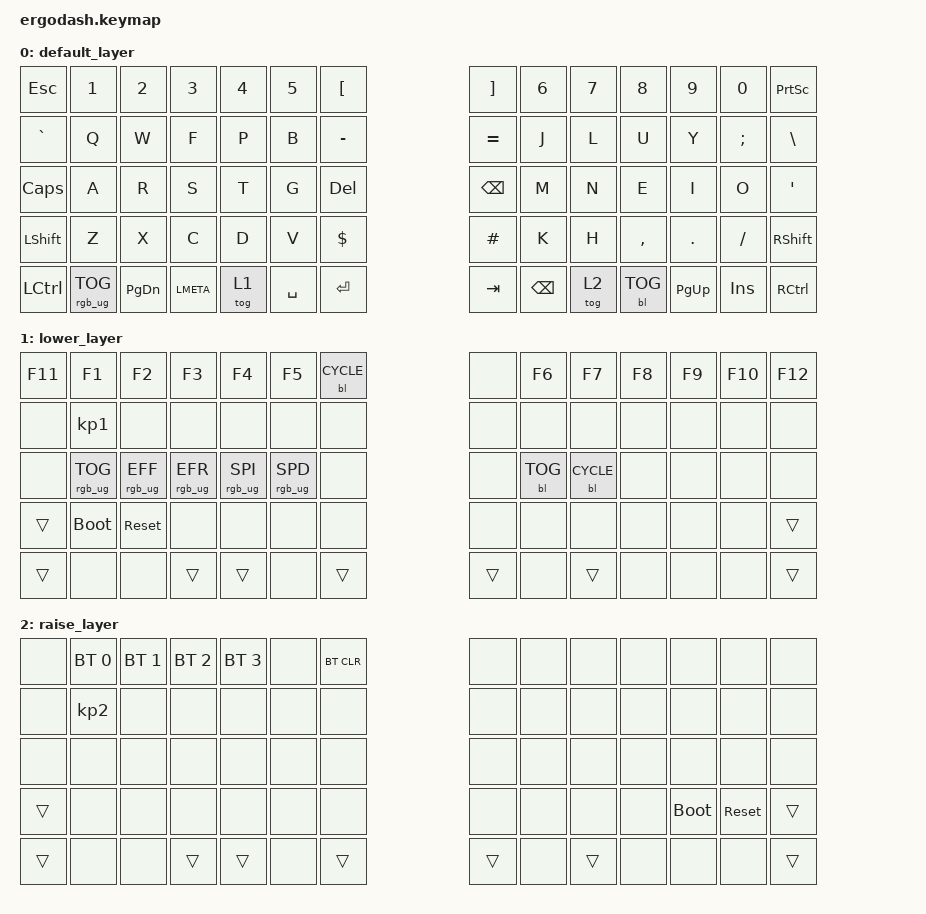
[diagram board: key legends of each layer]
/*
 * Copyright (c) 2020 The ZMK Contributors
 *
 * SPDX-License-Identifier: MIT
 */

#include <dt-bindings/led/led.h>
#include <behaviors.dtsi>
#include <dt-bindings/zmk/backlight.h>
#include <dt-bindings/zmk/bt.h>
#include <dt-bindings/zmk/keys.h>
#include <dt-bindings/zmk/rgb.h>

#define DEFAULT 0
#define LOWER   1
#define RAISE   2

/ {
    combos {
        compatible = "zmk,combos";

        soft_off {
            bindings = <&soft_off>;
            key-positions = <0 13>;
            layers = <0>;
        };
    };

    keymap {
        compatible = "zmk,keymap";

        default_layer {
            /* QWERTY
 * .----------------------------------------------------------------------------------------------------------------------.
 * |  `   |   1  |   2  |   3  |   4  |   5  |  [   |                    |  ]   |   6  |   7  |   8  |   9  |   0  | PScr |
 * |------+------+------+------+------+------+------+--------------------+------+------+------+------+------+------+------|
 * | ESC  |   Q  |   W  |   E  |   R  |   T  |  -   |                    |  =   |   Y  |   U  |   I  |   O  |   P  |  \   |
 * |------+------+------+------+------+------+------+--------------------+------+------+------+------+------+------+------|
 * | Tab  |   A  |   S  |   D  |   F  |   G  | Del  |                    | Bksp |   H  |   J  |   K  |   L  |   ;  |  '   |
 * |------+------+------+------+------+------+---------------------------+------+------+------+------+------+------+------|
 * | Shift|   Z  |   X  |   C  |   V  |   B  | End  |                    | Home |   N  |   M  |   ,  |   .  |   /  | Shift|
 * |-------------+------+------+------+------+------+------+------+------+------+------+------+------+------+-------------|
 * | Ctrl |      | PGDN | Win  |||||||| Alt  | Space| Lower|||||||| Raise| Enter| RAlt ||||||||      | PGUP | Ins  | RCtrl|
 * .----------------------------------------------------------------------------------------------------------------------.
 */

            bindings = <
&kp ESC    &kp N1           &kp N2     &kp N3     &kp N4  &kp N5  &kp LBKT                          &kp RBKT       &kp N6  &kp N7  &kp N8      &kp N9     &kp N0     &kp PSCRN
&kp GRAVE  &kp Q            &kp W      &kp F      &kp P   &kp B   &kp MINUS                         &kp EQUAL      &kp J   &kp L   &kp U       &kp Y      &kp SEMI   &kp BSLH
&kp CAPS   &kp A            &kp R      &kp S      &kp T   &kp G   &kp DEL                           &kp BSPC       &kp M   &kp N   &kp E       &kp I      &kp O      &kp SQT
&kp LSHFT  &kp Z            &kp X      &kp C      &kp D   &kp V              &kp DOLLAR  &kp POUND                 &kp K   &kp H   &kp COMMA   &kp DOT    &kp SLASH  &kp RSHFT
&kp LCTRL  &rgb_ug RGB_TOG  &kp PG_DN  &kp LMETA  &tog 1          &kp SPACE  &kp ENTER   &kp TAB    &kp BACKSPACE          &tog 2  &bl BL_TOG  &kp PG_UP  &kp INS    &kp RCTRL
            >;
        };

        lower_layer {
            /* .----------------------------------------------------------------------------------------------------------------------.
 * |  F11 |  F1  |  F2  |  F3  |  F4  |  F5  |      |                    |      |  F6  |  F7  |  F8  |  F9  |  F10 |  F12 |
 * |------+------+------+------+------+------+------+--------------------+------+------+------+------+------+------+------|
 * |      |      |      |      |      |      |      |                    |      |      |      |      |      |      |      |
 * |------+------+------+------+------+------+------+--------------------+------+------+------+------+------+------+------|
 * |      |      |      |      |      |      |      |                    |      |      |      |      |      |      |      |
 * |------+------+------+------+------+------+---------------------------+------+------+------+------+------+------+------|
 * | Shift| Boot | Reset|      |      |      |      |                    |      |      |      |      |      |      | Shift|
 * |-------------+------+------+------+------+------+------+------+------+------+------+------+------+------+-------------|
 * | Ctlr |      |      |  Win |||||||| Alt  |      | Lower|||||||| Raise|      | RAlt ||||||||      |      |      | RCtrl|
 * .----------------------------------------------------------------------------------------------------------------------.
 */ /* FIXME boot and reset are not yet locale aware */
            bindings = <
&kp F11  &kp F1           &kp F2           &kp F3           &kp F4           &kp F5           &bl BL_CYCLE                  &none  &kp F6      &kp F7        &kp F8  &kp F9  &kp F10  &kp F12
&none    &kp KP_NUMBER_1  &none            &none            &none            &none            &none                         &none  &none       &none         &none   &none   &none    &none
&none    &rgb_ug RGB_TOG  &rgb_ug RGB_EFF  &rgb_ug RGB_EFR  &rgb_ug RGB_SPI  &rgb_ug RGB_SPD  &none                         &none  &bl BL_TOG  &bl BL_CYCLE  &none   &none   &none    &none
&trans   &bootloader      &sys_reset       &none            &none            &none                          &none   &none          &none       &none         &none   &none   &none    &trans
&trans   &none            &none            &trans           &trans                            &none         &trans  &trans  &none              &trans        &none   &none   &none    &trans
            >;
        };

        raise_layer {
            /* .----------------------------------------------------------------------------------------------------------------------.
 * |      | BT 0 | BT 1 | BT 2 | BT 3 |      | BTCL |                    |      |      |      |      |      |      |      |
 * |------+------+------+------+------+------+------+--------------------+------+------+------+------+------+------+------|
 * |      |      |      |      |      |      |      |                    |      |      |      |      |      |      |      |
 * |------+------+------+------+------+------+------+--------------------+------+------+------+------+------+------+------|
 * |      |      |      |      |      |      |      |                    |      |      |      |      |      |      |      |
 * |------+------+------+------+------+------+---------------------------+------+------+------+------+------+------+------|
 * | Shift|      |      |      |      |      |      |                    |      |      |      |      | Boot | Reset| Shift|
 * |-------------+------+------+------+------+------+------+------+------+------+------+------+------+------+-------------|
 * | Ctlr |      |      |  Win |||||||| Alt  |      | Lower|||||||| Raise|      | RAlt ||||||||      |      |      | RCtrl|
 * .----------------------------------------------------------------------------------------------------------------------.
 */ /* FIXME boot and reset are not yet locale aware */
            bindings = <
&none   &bt BT_SEL 0     &bt BT_SEL 1  &bt BT_SEL 2  &bt BT_SEL 3  &none  &bt BT_CLR                  &none  &none  &none   &none  &none        &none       &none
&none   &kp KP_NUMBER_2  &none         &none         &none         &none  &none                       &none  &none  &none   &none  &none        &none       &none
&none   &none            &none         &none         &none         &none  &none                       &none  &none  &none   &none  &none        &none       &none
&trans  &none            &none         &none         &none         &none              &none   &none          &none  &none   &none  &bootloader  &sys_reset  &trans
&trans  &none            &none         &trans        &trans               &none       &trans  &trans  &none         &trans  &none  &none        &none       &trans
            >;
        };
    };
};

&pinctrl {
    pwm0_default: pwm0_default {
        group1 { psels = <NRF_PSEL(SPIM_MOSI, 0, 9)>; };
    };

    pwm0_sleep: pwm0_sleep {
        group1 {
            psels = <NRF_PSEL(SPIM_MOSI, 0, 9)>;
            low-power-enable;
        };
    };

    spi3_default: spi3_default {
        group1 { psels = <NRF_PSEL(SPIM_MOSI, 0, 6)>; };
    };

    spi3_sleep: spi3_sleep {
        group1 {
            psels = <NRF_PSEL(SPIM_MOSI, 0, 6)>;
            low-power-enable;
        };
    };
    spi1_default: spi1_default {
        group1 {
            psels = <NRF_PSEL(SPIM_SCK, 0, 20)>,
                    <NRF_PSEL(SPIM_MOSI, 1, 1)>;
        };
    };
};

&spi3 {
    compatible = "nordic,nrf-spim";
    status = "okay";
    pinctrl-0 = <&spi3_default>;
    pinctrl-1 = <&spi3_sleep>;
    pinctrl-names = "default", "sleep";

    led_strip: ws2812@0 {
        compatible = "worldsemi,ws2812-spi";

        /* SPI */

        reg = <0>;
        spi-max-frequency = <4000000>;

        /* WS2812 */

        chain-length = <24>;
        spi-one-frame = <0x70>;
        spi-zero-frame = <0x40>;
        color-mapping = <LED_COLOR_ID_GREEN LED_COLOR_ID_RED LED_COLOR_ID_BLUE>;
    };
};

&pwm0 {
    status = "okay";
    pinctrl-0 = <&pwm0_default>;
    pinctrl-1 = <&pwm0_sleep>;
    pinctrl-names = "default", "sleep";
};

/ {
    backlight: pwmleds {
        compatible = "pwm-leds";

        pwm_led_0 { pwms = <&pwm0 0 PWM_MSEC(10) PWM_POLARITY_NORMAL>; };
    };
};

&spi1 {
    status = "okay";
    cs-gpios = <&gpio1 2 GPIO_ACTIVE_LOW>;       // CS on P1.02

    ssd16xx: ssd16xxfb@0 {
        compatible = "solomon,ssd16xxfb";
        spi-max-frequency = <4000000>;
        reg = <0>;
        width = <250>;
        height = <122>;
        pp-width-bits = <8>;
        pp-height-bits = <16>;

        dc-gpios = <&gpio1 7 GPIO_ACTIVE_LOW>;
        reset-gpios = <&gpio0 17 GPIO_ACTIVE_LOW>; 
        gdv = [03];
        sdv = [40 a8 32];
        vcom = <0x55>;
        border-waveform = <0x03>;
        softstart = [D7 D6 9D];
        lut-initial = [
            80 60 40 00 00 00 00
            10 60 20 00 00 00 00
            80 60 40 00 00 00 00
            10 60 20 00 00 00 00
            00 00 00 00 00 00 00
            03 03 00 00 02
            09 09 00 00 02
            03 03 00 00 02
            00 00 00 00 00
            00 00 00 00 00
            00 00 00 00 00
            00 00 00 00 00
        ];
        lut-default = [
            00 00 00 00 00 00 00
            80 00 00 00 00 00 00
            40 00 00 00 00 00 00
            80 00 00 00 00 00 00
            00 00 00 00 00 00 00
            0A 00 00 00 04
            00 00 00 00 00
            00 00 00 00 00
            00 00 00 00 00
            00 00 00 00 00
            00 00 00 00 00
            00 00 00 00 00
            00 00 00 00 00
        ];
    };

    pinctrl-0 = <&spi1_default>;
};

/ {
    chosen {
        zephyr,display = &ssd16xx;
        zmk,underglow = &led_strip;
        zmk,backlight = &backlight;
    };
};
